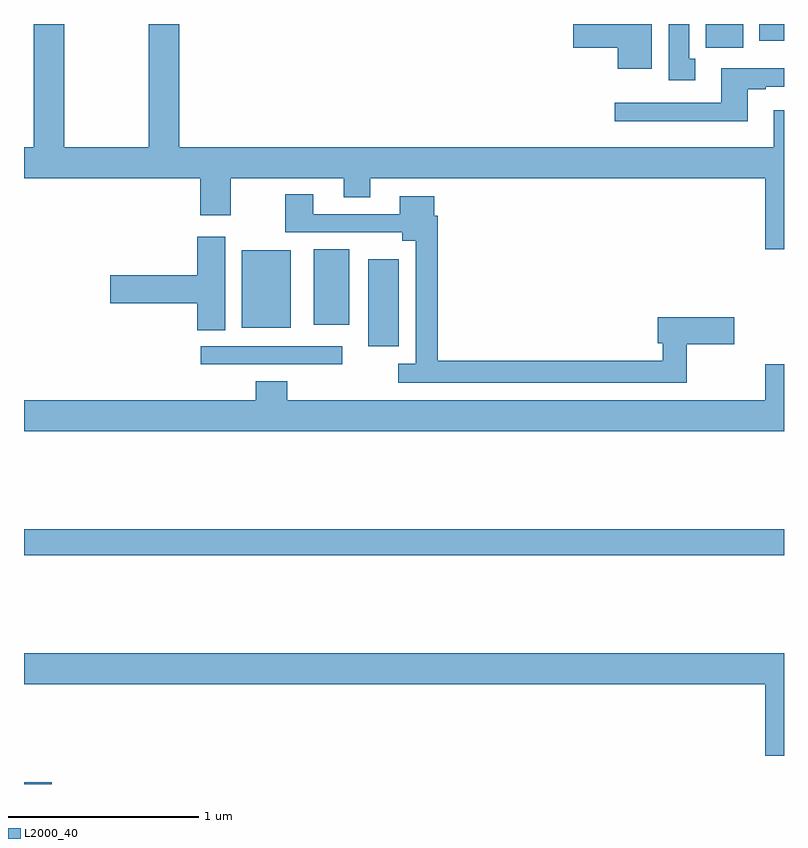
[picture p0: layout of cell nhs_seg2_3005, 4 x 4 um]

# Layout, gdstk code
import gdstk
lib = gdstk.Library(unit=1e-6, precision=1e-09)
def R(c, l, rs):  # rectangles x0, y0, x1, y1
    for r in rs: c.add(gdstk.rectangle(r[:2], r[2:], *l))
def P(c, l, *ps):  # polygons
    for p in ps: c.add(gdstk.Polygon(p, *l))
L2000_40 = (2000, 40)

nhs_seg2_3005 = lib.new_cell('nhs_seg2_3005')
R(nhs_seg2_3005, L2000_40, [(269,625.8,269.146,625.808), (269,627.004,273,627.14), (269.931,628.008,270.676,628.104), (270.812,628.103,270.973,628.561), (270.146,628.202,270.403,628.609), (270.524,628.217,270.712,628.615), (272.589,629.676,272.785,629.8), (272.87,629.712,273,629.8)])
P(nhs_seg2_3005, L2000_40, [(269.816,629.8),(269.656,629.8),(269.656,629.152),(269.211,629.152),(269.211,629.8),(269.051,629.8),(269.051,629.152),(269,629.152),(269,628.988),(269.927,628.988),(269.927,628.794),(270.087,628.794),(270.087,628.988),(270.683,628.988),(270.683,628.889),(270.823,628.889),(270.823,628.988),(272.9,628.988),(272.9,628.614),(273,628.614),(273,629.347),(272.945,629.347),(272.945,629.152),(269.816,629.152)],
  [(272.533,629.617),(272.5,629.617),(272.5,629.8),(272.393,629.8),(272.393,629.505),(272.533,629.505)],
  [(272.305,629.8),(271.892,629.8),(271.892,629.675),(272.126,629.675),(272.126,629.564),(272.305,629.564)],
  [(272.809,629.457),(272.905,629.457),(272.905,629.469),(273,629.469),(273,629.566),(272.669,629.566),(272.669,629.385),(272.109,629.385),(272.109,629.288),(272.809,629.288)],
  [(272.488,628.114),(272.737,628.114),(272.737,628.256),(272.336,628.256),(272.336,628.121),(272.363,628.121),(272.363,628.028),(271.178,628.028),(271.178,628.79),(271.159,628.79),(271.159,628.894),(270.977,628.894),(270.977,628.8),(270.523,628.8),(270.523,628.903),(270.376,628.903),(270.376,628.704),(270.992,628.704),(270.992,628.658),(271.062,628.658),(271.062,628.012),(270.969,628.012),(270.969,627.912),(272.488,627.912)],
  [(270.058,628.681),(269.912,628.681),(269.912,628.478),(269.454,628.478),(269.454,628.331),(269.912,628.331),(269.912,628.189),(270.058,628.189)],
  [(273,628.009),(272.9,628.009),(272.9,627.82),(270.386,627.82),(270.386,627.919),(270.221,627.919),(270.221,627.82),(269,627.82),(269,627.656),(273,627.656)],
  [(273,626.488),(269,626.488),(269,626.324),(272.9,626.324),(272.9,625.95),(273,625.95)])

lib.write_gds('nhs_seg2_3005.gds')
